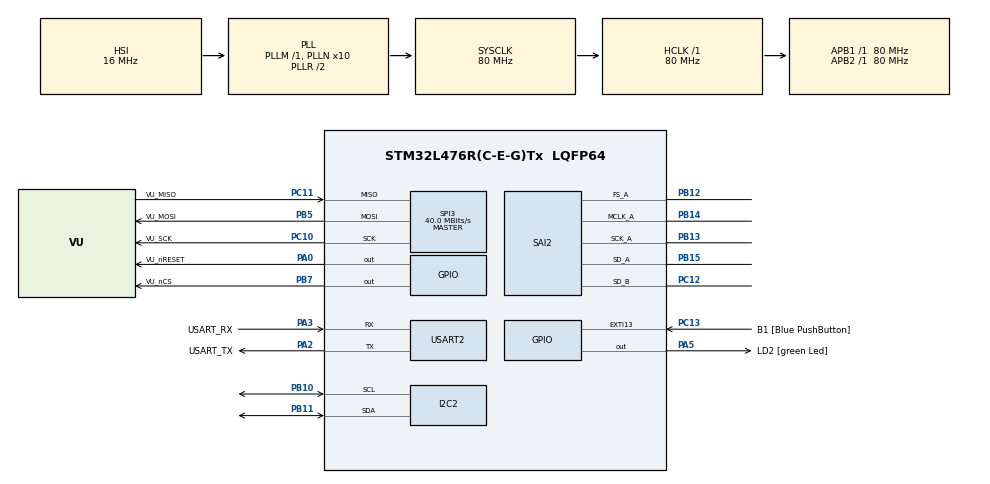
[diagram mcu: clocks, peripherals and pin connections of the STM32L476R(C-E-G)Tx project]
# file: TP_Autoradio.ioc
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Dma.Request0=SAI2_A
Dma.Request1=SAI2_B
Dma.SAI2_A.0.Direction=DMA_MEMORY_TO_PERIPH
Dma.SAI2_A.0.Instance=DMA1_Channel6
Dma.SAI2_A.0.MemDataAlignment=DMA_MDATAALIGN_WORD
Dma.SAI2_A.0.MemInc=DMA_MINC_ENABLE
Dma.SAI2_A.0.Mode=DMA_CIRCULAR
Dma.SAI2_A.0.PeriphDataAlignment=DMA_PDATAALIGN_WORD
Dma.SAI2_A.0.PeriphInc=DMA_PINC_DISABLE
Dma.SAI2_A.0.Priority=DMA_PRIORITY_LOW
Dma.SAI2_B.1.Direction=DMA_PERIPH_TO_MEMORY
Dma.SAI2_B.1.Instance=DMA1_Channel7
Dma.SAI2_B.1.MemDataAlignment=DMA_MDATAALIGN_WORD
Dma.SAI2_B.1.MemInc=DMA_MINC_ENABLE
Dma.SAI2_B.1.Mode=DMA_CIRCULAR
Dma.SAI2_B.1.PeriphDataAlignment=DMA_PDATAALIGN_WORD
Dma.SAI2_B.1.PeriphInc=DMA_PINC_DISABLE
Dma.SAI2_B.1.Priority=DMA_PRIORITY_LOW
FREERTOS.Tasks01=defaultTask,0,128,StartDefaultTask,Default,NULL,Dynamic,NULL,NULL
FREERTOS.configTOTAL_HEAP_SIZE=20000
FREERTOS.configUSE_NEWLIB_REENTRANT=1
I2C2.Timing=0x10D19CE4
Mcu.Family=STM32L4
Mcu.Name=STM32L476R(C-E-G)Tx
Mcu.Package=LQFP64
NVIC.DMA1_Channel6_IRQn=true\:5\:0\:false\:false\:true\:true\:false\:true\:true
NVIC.DMA1_Channel7_IRQn=true\:5\:0\:false\:false\:true\:true\:false\:true\:true
NVIC.PriorityGroup=NVIC_PRIORITYGROUP_4
NVIC.SAI2_IRQn=true\:5\:0\:false\:false\:true\:true\:true\:true\:true
NVIC.SPI3_IRQn=true\:5\:0\:false\:false\:true\:true\:true\:true\:true
NVIC.TIM6_DAC_IRQn=true\:15\:0\:false\:false\:true\:false\:false\:true\:true
NVIC.TimeBase=TIM6_DAC_IRQn
NVIC.TimeBaseIP=TIM6
NVIC.USART2_IRQn=true\:5\:0\:false\:false\:true\:true\:true\:true\:true
PA0.GPIO_Label=VU_nRESET
PA0.Signal=GPIO_Output
PA13\ (JTMS-SWDIO).GPIO_Label=TMS
PA13\ (JTMS-SWDIO).Mode=Serial_Wire
PA13\ (JTMS-SWDIO).Signal=SYS_JTMS-SWDIO
PA14\ (JTCK-SWCLK).GPIO_Label=TCK
PA14\ (JTCK-SWCLK).Mode=Serial_Wire
PA14\ (JTCK-SWCLK).Signal=SYS_JTCK-SWCLK
PA2.GPIO_Label=USART_TX
PA2.GPIO_Mode=GPIO_MODE_AF_PP
PA2.GPIO_PuPd=GPIO_NOPULL
PA2.GPIO_Speed=GPIO_SPEED_FREQ_VERY_HIGH
PA2.Mode=Asynchronous
PA2.Signal=USART2_TX
PA3.GPIO_Label=USART_RX
PA3.GPIO_Mode=GPIO_MODE_AF_PP
PA3.GPIO_PuPd=GPIO_NOPULL
PA3.GPIO_Speed=GPIO_SPEED_FREQ_VERY_HIGH
PA3.Mode=Asynchronous
PA3.Signal=USART2_RX
PA5.GPIO_Label=LD2 [green Led]
PA5.GPIO_ModeDefaultOutputPP=GPIO_MODE_OUTPUT_PP
PA5.GPIO_PuPd=GPIO_NOPULL
PA5.GPIO_Speed=GPIO_SPEED_FREQ_LOW
PA5.Signal=GPIO_Output
PB10.Mode=I2C
PB10.Signal=I2C2_SCL
PB11.Mode=I2C
PB11.Signal=I2C2_SDA
PB12.Mode=SAI_A_MasterWithClock
PB12.Signal=SAI2_FS_A
PB13.Mode=SAI_A_MasterWithClock
PB13.Signal=SAI2_SCK_A
PB14.Mode=SAI_A_MasterWithClock
PB14.Signal=SAI2_MCLK_A
PB15.Mode=SAI_A_MasterWithClock
PB15.Signal=SAI2_SD_A
PB3\ (JTDO-TRACESWO).GPIO_Label=SWO
PB3\ (JTDO-TRACESWO).Signal=SYS_JTDO-SWO
PB5.GPIO_Label=VU_MOSI
PB5.Mode=Full_Duplex_Master
PB5.Signal=SPI3_MOSI
PB7.GPIO_Label=VU_nCS
PB7.Signal=GPIO_Output
PC10.GPIO_Label=VU_SCK
PC10.Mode=Full_Duplex_Master
PC10.Signal=SPI3_SCK
PC11.GPIO_Label=VU_MISO
PC11.Mode=Full_Duplex_Master
PC11.Signal=SPI3_MISO
PC12.Mode=SAI_B_SyncSlave
PC12.Signal=SAI2_SD_B
PC13.GPIO_Label=B1 [Blue PushButton]
PC13.GPIO_ModeDefaultEXTI=GPIO_MODE_IT_FALLING
PC13.GPIO_PuPd=GPIO_NOPULL
PC13.Signal=GPXTI13
PC14-OSC32_IN\ (PC14).Mode=LSE-External-Oscillator
PC14-OSC32_IN\ (PC14).Signal=RCC_OSC32_IN
PC15-OSC32_OUT\ (PC15).Mode=LSE-External-Oscillator
PC15-OSC32_OUT\ (PC15).Signal=RCC_OSC32_OUT
PH0-OSC_IN\ (PH0).Signal=RCC_OSC_IN
PH1-OSC_OUT\ (PH1).Signal=RCC_OSC_OUT
ProjectManager.HeapSize=0x200
ProjectManager.StackSize=0x400
ProjectManager.TargetToolchain=STM32CubeIDE
RCC.ADCFreq_Value=104000000
RCC.AHBFreq_Value=80000000
RCC.APB1Freq_Value=80000000
RCC.APB1TimFreq_Value=80000000
RCC.APB2Freq_Value=80000000
RCC.APB2TimFreq_Value=80000000
RCC.CortexFreq_Value=80000000
RCC.HCLKFreq_Value=80000000
RCC.HSE_VALUE=8000000
RCC.HSI_VALUE=16000000
RCC.MSI_VALUE=4000000
RCC.PLLN=10
RCC.PLLSAI1N=13
RCC.PLLSAI1P=RCC_PLLP_DIV17
RCC.PLLSourceVirtual=RCC_PLLSOURCE_HSI
RCC.PREFETCH_ENABLE=1
RCC.SYSCLKFreq_VALUE=80000000
RCC.SYSCLKSource=RCC_SYSCLKSOURCE_PLLCLK
RCC.USBFreq_Value=104000000
RCC.VCOOutputFreq_Value=160000000
SAI2.AudioFrequency-SAI_A_MasterWithClock=SAI_AUDIO_FREQUENCY_48K
SAI2.ErrorAudioFreq-SAI_A_MasterWithClock=-0.42 %
SAI2.InitProtocol-SAI_A_MasterWithClock=Enable
SAI2.InitProtocol-SAI_B_SyncSlave=Enable
SAI2.Instance-SAI_A_MasterWithClock=SAI$Index_Block_A
SAI2.Instance-SAI_B_SyncSlave=SAI$Index_Block_B
SAI2.MClockEnable-SAI_A_MasterWithClock=SAI_MASTERCLOCK_ENABLE
SAI2.RealAudioFreq-SAI_A_MasterWithClock=47.794 KHz
SAI2.VirtualMode-SAI_A_MasterWithClock=VM_MASTER
SAI2.VirtualMode-SAI_B_SyncSlave=VM_SLAVE
SAI2.VirtualProtocol-SAI_A_BASIC=VM_BASIC_PROTOCOL
SAI2.VirtualProtocol-SAI_B_BASIC=VM_BASIC_PROTOCOL
SPI3.CalculateBaudRate=40.0 MBits/s
SPI3.DataSize=SPI_DATASIZE_8BIT
SPI3.Direction=SPI_DIRECTION_2LINES
SPI3.Mode=SPI_MODE_MASTER
SPI3.VirtualType=VM_MASTER
USART2.VirtualMode-Asynchronous=VM_ASYNC
VP_FREERTOS_VS_CMSIS_V1.Mode=CMSIS_V1
VP_SAI2_VP_$IpInstance_SAIA_SAI_BASIC.Mode=SAI_A_BASIC
VP_SAI2_VP_$IpInstance_SAIB_SAI_BASIC.Mode=SAI_B_BASIC
VP_SYS_VS_tim6.Mode=TIM6
board=NUCLEO-L476RG

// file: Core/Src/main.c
/* USER CODE BEGIN Header */
/**
 ******************************************************************************
 * @file           : main.c
 * @brief          : Main program body
 ******************************************************************************
 * @attention
 *
 * Copyright (c) 2024 STMicroelectronics.
 * All rights reserved.
 *
 * This software is licensed under terms that can be found in the LICENSE file
 * in the root directory of this software component.
 * If no LICENSE file comes with this software, it is provided AS-IS.
 *
 ******************************************************************************
 */
/* USER CODE END Header */
#include "main.h"
#include "cmsis_os.h"
#include "dma.h"
#include "i2c.h"
#include "sai.h"
#include "spi.h"
#include "usart.h"
#include "gpio.h"

/* USER CODE BEGIN Includes */
#include <stdio.h>
#include <stdlib.h>
#include <math.h>

#include "../drivers/MCP23S17.h"
#include "../drivers/SGTL5000.h"

#include "../shell/shell.h"
#include "../shell/functions.h"

/* USER CODE END Includes */

/* USER CODE BEGIN PD */
#define LOGS 0

#define STACK_DEPTH 256
#define TASK_SHELL_PRIORITY 3
#define TASK_MCP23S17_PRIORITY 2
#define DELAY_LED_TOGGLE 200

#define SAI_BUFFER_LENGTH (512)
/* USER CODE END PD */

/* USER CODE BEGIN PV */
TaskHandle_t h_task_LED = NULL;
TaskHandle_t h_task_shell = NULL;
TaskHandle_t h_task_GPIOExpander = NULL;

uint8_t rxSAI[SAI_BUFFER_LENGTH];
uint8_t txSAI[SAI_BUFFER_LENGTH];
float txSAI_volume;
int VU_level;
/* USER CODE END PV */

void SystemClock_Config(void);
void PeriphCommonClock_Config(void);
void MX_FREERTOS_Init(void);

/* USER CODE BEGIN 0 */
/**
 * @brief Transmit a character over UART.
 * @param ch: Character to transmit.
 * @retval int: The transmitted character.
 */
int __io_putchar(int ch)
{
	HAL_UART_Transmit(&huart2, (uint8_t *)&ch, 1, HAL_MAX_DELAY);

	return ch;
}

/**
 * @brief  Gestion d'erreurs de création de tâche.
 * @param	BaseType_t	Retour de xTaskCreate.
 */
void Error_Handler_xTaskCreate(BaseType_t r)
{
	/* Vérification si la tâche a été créée avec succès */
	if (pdPASS == r) {
		/* Si la tâche est créée avec succès, démarrer le scheduler */
#if (LOGS)
		printf("Tâche crée avec succès\r\n");
#endif
	} else if (errCOULD_NOT_ALLOCATE_REQUIRED_MEMORY == r) {
		printf("Erreur: Mémoire insuffisante\r\n");
		Error_Handler();
	} else {
		/* Cas improbable : code d'erreur non prévu pour xTaskCreate */
		printf("Erreur inconnue lors de la création de la tâche\r\n");
		Error_Handler();  	// Gestion d'erreur générique
		NVIC_SystemReset(); // Réinitialiser le microcontrôleur
	}
}

void HAL_UART_RxCpltCallback(UART_HandleTypeDef *huart)
{
	if (huart->Instance == USART2)
	{
		shell_uart_receive_irq_cb();	// Function giving the semaphore!
	}
}

//////////////////////////////////////////////////////////////////////
// TASKS
////////////////////////////////////////////////////////////////////

void task_LED (void * pvParameters) {
	int duree = (int) pvParameters;

#if (LOGS)
	printf("Task %s created\r\n", pcTaskGetName(xTaskGetCurrentTaskHandle()));
#endif
	for (;;)
	{
		HAL_GPIO_TogglePin(LD2_GPIO_Port, LD2_Pin);
		vTaskDelay( duree / portTICK_PERIOD_MS );  // Délai de duree en ms
	}
}

void task_shell(void * unused)
{
#if (LOGS)
	printf("Task %s created\r\n", pcTaskGetName(xTaskGetCurrentTaskHandle()));
#endif

	shell_init();	// Shell initialization

	// Creation of all commands
	shell_add('f', fonction, "Une fonction inutile");
	shell_add('a', addition, "Effectue une somme");
	shell_add('c', calcul, "Opération entre 2 nombres");
	shell_add('t', GPIOExpander_toggle_LED, "Change l'état des LED avec les id");
	shell_add('s', GPIOExpander_set_LED, "Allume une LED avec son id");

	shell_run();	// boucle infinie
}

void test_chenillard(int delay)
{
	int i = 0;

	for (;;)
	{
		MCP23S17_Set_LEDs(~(1 << i%8 | ((1 << i%8) << 8)));
		i++;
		vTaskDelay( delay / portTICK_PERIOD_MS );  // Délai de duree en Dms
	}
}

void task_GPIO_expander (void * unused) {

#if (LOGS)
	printf("Task %s created\r\n", pcTaskGetName(xTaskGetCurrentTaskHandle()));
#endif

	/* VU-Metre test *
	MCP23S17_level_L(70);
	MCP23S17_level_R(50);
	*/

	// Simple test of the array of leds with an animation
	//test_chenillard(100);

	for (;;)
	{
		// VU-Metre
		txSAI_volume = 0;
		for (int i=0; i<SAI_BUFFER_LENGTH; i++)
		{
			txSAI_volume += txSAI[i];
		}
		txSAI_volume = log10f((float)(txSAI_volume)/(SAI_BUFFER_LENGTH*0x7FFF));

		// 0 dB at 70%
		if (VU_level < txSAI_volume+70) VU_level += 1;
		if (VU_level > txSAI_volume+70) VU_level -= 1;

		MCP23S17_level_L(VU_level);
		MCP23S17_level_R(VU_level);

		vTaskDelay( 4/portTICK_PERIOD_MS );  // 1 ms delay
	}
}

///////////////////////////////////////////////////////////////////////
// SAI
/////////////////////////////////////////////////////////////////////

/**
 * @brief Generates a triangular waveform.
 * @param buffer: Pointer to the buffer to hold the waveform.
 * @param length: Number of samples in the waveform.
 * @param amplitude: Peak amplitude of the waveform.
 */
void GenerateTriangleWave(uint8_t* buffer, uint16_t length, uint16_t amplitude)
{
	uint16_t step = (2 * amplitude) / length;
	uint16_t value = 0;
	int8_t direction = 1;

	for (uint16_t i = 0; i < length; i++) {
		buffer[i] = value;
		value += step * direction;

		if (value >= amplitude) {
			value = amplitude;
			direction = -1; // Start decreasing
		} else if (value <= 0) {
			value = 0;
			direction = 1; // Start increasing
		}
	}
}

/**
 * @brief SAI error callback.
 * @param hsai: Pointer to the SAI handle.
 */
void HAL_SAI_ErrorCallback(SAI_HandleTypeDef *hsai)
{
    printf("Error: SAI encountered an error\r\n");

    // Attempt to restart DMA transmission and reception
    if (HAL_SAI_Transmit_DMA(&hsai_BlockA2, (uint8_t*)txSAI, SAI_BUFFER_LENGTH) != HAL_OK) {
        printf("Error: Failed to restart SAI DMA transmission\r\n");
        Error_Handler();
    }

    if (HAL_SAI_Receive_DMA(&hsai_BlockA2, rxSAI, SAI_BUFFER_LENGTH) != HAL_OK) {
        printf("Error: Failed to restart SAI DMA reception\r\n");
        Error_Handler();
    }
}

/* USER CODE END 0 */

int main(void)
{

	/* MCU Configuration--------------------------------------------------------*/

	/* Reset of all peripherals, Initializes the Flash interface and the Systick. */
	HAL_Init();

	/* Configure the system clock */
	SystemClock_Config();

	/* Configure the peripherals common clocks */
	PeriphCommonClock_Config();

	/* Initialize all configured peripherals */
	MX_GPIO_Init();
	MX_DMA_Init();
	MX_USART2_UART_Init();
	MX_I2C2_Init();
	MX_SPI3_Init();
	MX_SAI2_Init();
	/* USER CODE BEGIN 2 */
	// Initialize GPIO expander
	MCP23S17_Init();
	__HAL_RCC_SAI2_CLK_ENABLE();
	__HAL_RCC_DMA2_CLK_ENABLE();
	__HAL_SAI_ENABLE(&hsai_BlockA2);
	__HAL_SAI_ENABLE(&hsai_BlockB2);
	SGTL5000_Init();

	// Generate the triangular waveform
	GenerateTriangleWave(txSAI, SAI_BUFFER_LENGTH, 0x7FFF); // 16-bit amplitude (0x7FFF)
	printf("Triangle Wave generation\r\n");

	// Start SAI DMA transmission
	if (HAL_SAI_Transmit_DMA(&hsai_BlockA2, (uint8_t*)txSAI, SAI_BUFFER_LENGTH) != HAL_OK) {
		printf("Error: Failed to start SAI DMA transmission\r\n");
		Error_Handler();
	}

	// Start SAI DMA reception
	if (HAL_SAI_Receive_DMA(&hsai_BlockA2, rxSAI, SAI_BUFFER_LENGTH) != HAL_OK) {
		printf("Error: Failed to start SAI DMA reception\r\n");
		Error_Handler();
	}

	// Test printf
	printf("******* TP Autoradio *******\r\n");

	// Create the task, storing the handle.
	Error_Handler_xTaskCreate(
			xTaskCreate(task_GPIO_expander, // Function that implements the task.
					"GPIO_expander", // Text name for the task.
					STACK_DEPTH, // Stack size in words, not bytes.
					(void *) 500, // 500 ms
					TASK_MCP23S17_PRIORITY, // Priority at which the task is created.
					&h_task_GPIOExpander)); // Used to pass out the created task's handle.

	// Turn on LED2 (Green)
	HAL_GPIO_TogglePin(LD2_GPIO_Port, LD2_Pin);

	// Create the task, storing the handle.
	Error_Handler_xTaskCreate(
			xTaskCreate(task_LED, // Function that implements the task.
					"LED LD2", // Text name for the task.
					STACK_DEPTH, // Stack size in words, not bytes.
					(void *) DELAY_LED_TOGGLE, // Parameter passed into the task.
					1,// Priority at which the task is created.
					&h_task_LED)); // Used to pass out the created task's handle.
	// Shell task
	Error_Handler_xTaskCreate(
			xTaskCreate(task_shell,
					"Shell",
					STACK_DEPTH,
					NULL,
					TASK_SHELL_PRIORITY,
					&h_task_shell));

	// OS Start
	vTaskStartScheduler();

	/* USER CODE END 2 */

	/* Call init function for freertos objects (in cmsis_os2.c) */
	MX_FREERTOS_Init();

	/* Start scheduler */
	osKernelStart();

	/* We should never get here as control is now taken by the scheduler */

	/* Infinite loop */
	while (1)
	{

	}
}

void SystemClock_Config(void)
{
	RCC_OscInitTypeDef RCC_OscInitStruct = {0};
	RCC_ClkInitTypeDef RCC_ClkInitStruct = {0};

	/** Configure the main internal regulator output voltage
	 */
	if (HAL_PWREx_ControlVoltageScaling(PWR_REGULATOR_VOLTAGE_SCALE1) != HAL_OK)
	{
		Error_Handler();
	}

	/** Initializes the RCC Oscillators according to the specified parameters
	 * in the RCC_OscInitTypeDef structure.
	 */
	RCC_OscInitStruct.OscillatorType = RCC_OSCILLATORTYPE_HSI;
	RCC_OscInitStruct.HSIState = RCC_HSI_ON;
	RCC_OscInitStruct.HSICalibrationValue = RCC_HSICALIBRATION_DEFAULT;
	RCC_OscInitStruct.PLL.PLLState = RCC_PLL_ON;
	RCC_OscInitStruct.PLL.PLLSource = RCC_PLLSOURCE_HSI;
	RCC_OscInitStruct.PLL.PLLM = 1;
	RCC_OscInitStruct.PLL.PLLN = 10;
	RCC_OscInitStruct.PLL.PLLP = RCC_PLLP_DIV7;
	RCC_OscInitStruct.PLL.PLLQ = RCC_PLLQ_DIV2;
	RCC_OscInitStruct.PLL.PLLR = RCC_PLLR_DIV2;
	if (HAL_RCC_OscConfig(&RCC_OscInitStruct) != HAL_OK)
	{
		Error_Handler();
	}

	/** Initializes the CPU, AHB and APB buses clocks
	 */
	RCC_ClkInitStruct.ClockType = RCC_CLOCKTYPE_HCLK|RCC_CLOCKTYPE_SYSCLK
			|RCC_CLOCKTYPE_PCLK1|RCC_CLOCKTYPE_PCLK2;
	RCC_ClkInitStruct.SYSCLKSource = RCC_SYSCLKSOURCE_PLLCLK;
	RCC_ClkInitStruct.AHBCLKDivider = RCC_SYSCLK_DIV1;
	RCC_ClkInitStruct.APB1CLKDivider = RCC_HCLK_DIV1;
	RCC_ClkInitStruct.APB2CLKDivider = RCC_HCLK_DIV1;

	if (HAL_RCC_ClockConfig(&RCC_ClkInitStruct, FLASH_LATENCY_4) != HAL_OK)
	{
		Error_Handler();
	}
}

void PeriphCommonClock_Config(void)
{
	RCC_PeriphCLKInitTypeDef PeriphClkInit = {0};

	/** Initializes the peripherals clock
	 */
	PeriphClkInit.PeriphClockSelection = RCC_PERIPHCLK_SAI2;
	PeriphClkInit.Sai2ClockSelection = RCC_SAI2CLKSOURCE_PLLSAI1;
	PeriphClkInit.PLLSAI1.PLLSAI1Source = RCC_PLLSOURCE_HSI;
	PeriphClkInit.PLLSAI1.PLLSAI1M = 1;
	PeriphClkInit.PLLSAI1.PLLSAI1N = 13;
	PeriphClkInit.PLLSAI1.PLLSAI1P = RCC_PLLP_DIV17;
	PeriphClkInit.PLLSAI1.PLLSAI1Q = RCC_PLLQ_DIV2;
	PeriphClkInit.PLLSAI1.PLLSAI1R = RCC_PLLR_DIV2;
	PeriphClkInit.PLLSAI1.PLLSAI1ClockOut = RCC_PLLSAI1_SAI1CLK;
	if (HAL_RCCEx_PeriphCLKConfig(&PeriphClkInit) != HAL_OK)
	{
		Error_Handler();
	}
}

void HAL_TIM_PeriodElapsedCallback(TIM_HandleTypeDef *htim)
{
	if (htim->Instance == TIM6) {
		HAL_IncTick();
	}
}

void Error_Handler(void)
{
	__disable_irq();
	while (1)
	{
	}
}
